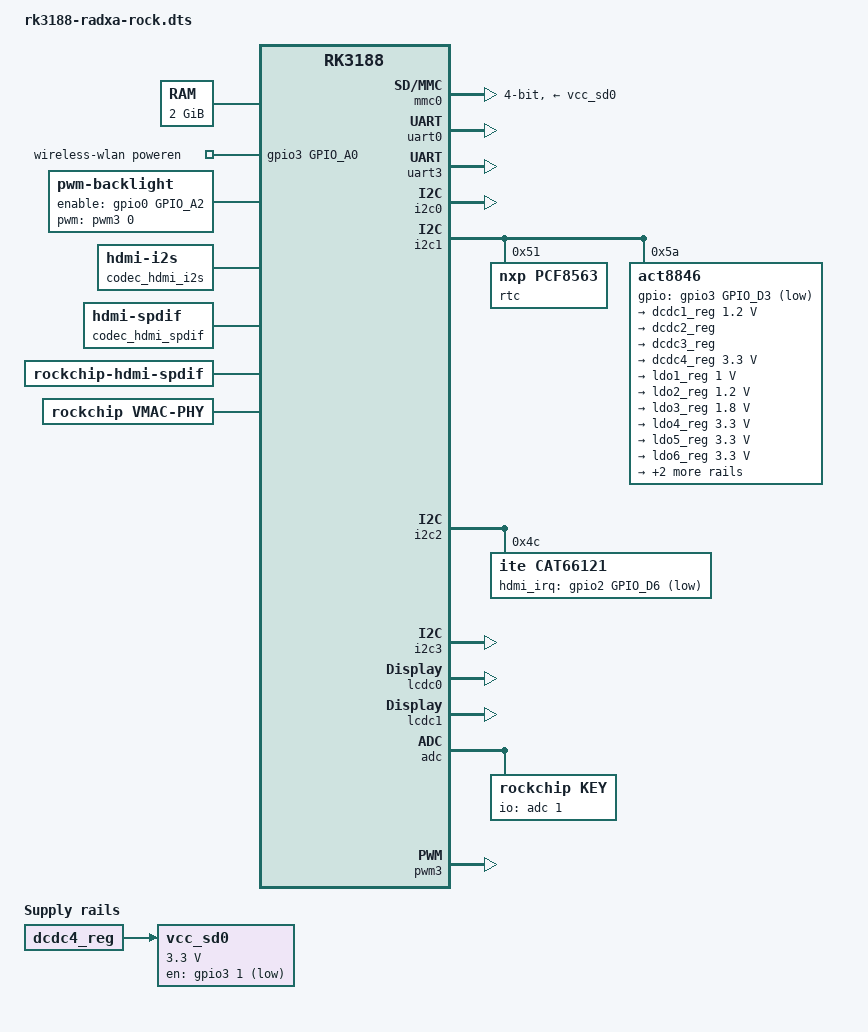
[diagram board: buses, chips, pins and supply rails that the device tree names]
/dts-v1/;

#include "rk3188.dtsi"

/ {
	memory {
		device_type = "memory";
		reg = <0x60000000 0x80000000>;
	};

	chosen {
		bootargs = "clk_ignore_unused";
	};

	fiq-debugger {
		status = "okay";
	};

	wireless-wlan {
		compatible = "wlan-platdata";

		wifi_chip_type = "";

		WIFI,poweren_gpio = <&gpio3 GPIO_A0 GPIO_ACTIVE_HIGH>;

		status = "okay";
	};

	backlight {
		compatible = "pwm-backlight";
		pwms = <&pwm3 0 25000>;
		brightness-levels = <0 1 2 3 4 5 6 7 8 9 10 11 12 13 14 15 16 17 18 19 20 21 22 23 24 25 26 27 28 29 30 31 32 33 34 35 36 37 38 39 40 41 42 43 44 45 46 47 48 49 50 51 52 53 54 55 56 57 58 59 60 61 62 63 64 65 66 67 68 69 70 71 72 73 74 75 76 77 78 79 80 81 82 83 84 85 86 87 88 89 90 91 92 93 94 95 96 97 98 99 100 101 102 103 104 105 106 107 108 109 110 111 112 113 114 115 116 117 118 119 120 121 122 123 124 125 126 127 128 129 130 131 132 133 134 135 136 137 138 139 140 141 142 143 144 145 146 147 148 149 150 151 152 153 154 155 156 157 158 159 160 161 162 163 164 165 166 167 168 169 170 171 172 173 174 175 176 177 178 179 180 181 182 183 184 185 186 187 188 189 190 191 192 193 194 195 196 197 198 199 200 201 202 203 204 205 206 207 208 209 210 211 212 213 214 215 216 217 218 219 220 221 222 223 224 225 226 227 228 229 230 231 232 233 234 235 236 237 238 239 240 241 242 243 244 245 246 247 248 249 250 251 252 253 254 255>;
		default-brightness-level = <128>;
		enable-gpios = <&gpio0 GPIO_A2 GPIO_ACTIVE_HIGH>;
	};

	codec_hdmi_i2s: codec-hdmi-i2s {
		compatible = "hdmi-i2s";
	};

	codec_hdmi_spdif: codec-hdmi-spdif {
		compatible = "hdmi-spdif";
	};

	rockchip-hdmi-i2s {
		compatible = "rockchip-hdmi-i2s";
		dais {
			dai0 {
				audio-codec = <&codec_hdmi_i2s>;
				i2s-controller = <&i2s0>;
				format = "i2s";
				//continuous-clock;
				//bitclock-inversion;
				//frame-inversion;
				//bitclock-master;
				//frame-master;
			};
		};
	};

	rockchip-hdmi-spdif {
		compatible = "rockchip-hdmi-spdif";
	};
	
	vmac-phy {
		compatible = "rockchip,vmac-phy";
		pmu_regulator = "act_ldo5";
		pmu_enable_level = <1>; //1->HIGH, 0->LOW
	};

	vcc_sd0: sdmmc-regulator {
		compatible = "regulator-fixed";
		regulator-name = "sdmmc-supply";
		regulator-min-microvolt = <3300000>;
		regulator-max-microvolt = <3300000>;
		gpio = <&gpio3 1 GPIO_ACTIVE_LOW>;
		startup-delay-us = <100000>;
		vin-supply = <&dcdc4_reg>;
	};
};

&emmc {
	status = "disabled";
};

&mmc0 {
	clock-frequency = <50000000>;
	max-frequency = <50000000>;

	num-slots = <1>;
	status = "okay";
	pinctrl-names = "default";
	pinctrl-0 = <&sd0_clk>, <&sd0_cmd>, <&sd0_cd>, <&sd0_bus4>;
	vmmc-supply = <&vcc_sd0>;

	bus-width = <4>;
	cap-mmc-highspeed;
	cap-sd-highspeed;
	disable-wp;
};

&mmc1 {
	status = "disabled";
};

&uart0 {
	status = "okay";
	dma-names = "!tx", "!rx";
};


&uart3 {
	status = "okay";
	dma-names = "!tx", "!rx";
};

&watchdog {
		rockchip,timeout = <50>;
		rockchip,debug = <1>;
		status = "disabled";
};

&i2c0 {
	status = "okay";
};

&i2c1 {
	status = "okay";
	rtc@51 {
		compatible = "nxp,pcf8563";
		reg = <0x51>;
	};
	
	act8846: act8846@5a {
		reg = <0x5a>;
		status = "okay";
	};
};

&i2c2 {
	status = "okay";
        cat66121@4c {
		compatible = "ite,cat66121";
		reg = <0x4c>;
		rockchips,hdmi_irq_gpio = <&gpio2 GPIO_D6 GPIO_ACTIVE_LOW>;

		power_ctr_hdmi {
			rockchip,debug = <1>;

			reset-gpio {
				rockchip,power_type = <GPIO>;
				rockchip,is_reset = <1>;
				rockchip,delay = <10>;

				gpios = <&gpio3 GPIO_B2 GPIO_ACTIVE_LOW>;
			};
		};
        };
};

&i2c3 {
	status = "okay";
};

&fb {
	rockchip,disp-mode = <DUAL>;
};

&rk_screen {
	display-timings {
		native-mode = <&timing0>;
		timing0: 1280x720 {
			screen-type = <SCREEN_RGB>;
			out-face = <OUT_P888>;
			hactive = <1280>;
			vactive = <720>;
			clock-frequency = <27000000>;
			hback-porch = <0>;
			hfront-porch = <0>;
			hsync-len = <0>;
			vback-porch = <0>;
			vfront-porch = <0>;
			vsync-len = <0>;
		};
	};
};

&lcdc0 {
	status = "okay";
};

&lcdc1 {
	status = "okay";
};

&adc {
	status = "okay";

	key {
		compatible = "rockchip,key";
		io-channels = <&adc 1>;

		power-key {
			gpios = <&gpio0 GPIO_A4 GPIO_ACTIVE_LOW>;
			linux,code = <116>;
			label = "power";
			gpio-key,wakeup;
		};
	};
};

&pwm3 {
	status = "okay";
};

&clk_core_dvfs_table {
	operating-points = <
		/* KHz    uV */
		312000 1100000
		504000 1100000
		816000 1100000
		1008000 1100000
		1200000 1200000
		1416000 1300000
		1608000 1350000
		>;
};

&clk_gpu_dvfs_table {
	operating-points = <
		/* KHz    uV */
		200000 1200000
		300000 1200000
		400000 1200000
		>;
};

&clk_ddr_dvfs_table {
	operating-points = <
		/* KHz    uV */
		200000 1200000
		300000 1200000
		400000 1200000
		>;

	freq_table = <
		/*status		freq(KHz)*/
		SYS_STATUS_NORMAL	400000
		SYS_STATUS_SUSPEND	200000
		SYS_STATUS_VIDEO	300000
		SYS_STATUS_DUALVIEW	500000
		>;
};

/include/ "act8846.dtsi"
&act8846 {
	gpios =<&gpio3 GPIO_D3 GPIO_ACTIVE_LOW>; 

regulators {
		
		 dcdc1_reg: regulator@0{
			regulator-name= "act_dcdc1";
			regulator-min-microvolt = <1200000>;
			regulator-max-microvolt = <1200000>;
			regulator-always-on;
			regulator-boot-on;
		};

		dcdc2_reg: regulator@1 {
			regulator-name= "vdd_logic";
			regulator-always-on;
			regulator-boot-on;			
		};

		dcdc3_reg: regulator@2 {
			regulator-name= "vdd_arm";
			regulator-always-on;
			regulator-boot-on;
		};

		dcdc4_reg: regulator@3 {
			regulator-name= "vccio";
			regulator-min-microvolt = <3300000>;
			regulator-max-microvolt = <3300000>;
			regulator-always-on;
			regulator-boot-on;
		};

		ldo1_reg: regulator@4 {
			regulator-name= "act_ldo1";
			regulator-min-microvolt = <1000000>;
			regulator-max-microvolt = <1000000>;
			regulator-always-on;
			regulator-boot-on;
		};

		ldo2_reg: regulator@5 {
			regulator-name= "act_ldo2";
			regulator-min-microvolt = <1200000>;
			regulator-max-microvolt = <1200000>;
			regulator-always-on;
			regulator-boot-on;
		};

		ldo3_reg: regulator@6 {
			regulator-name= "act_ldo3";
			regulator-min-microvolt = <1800000>;
			regulator-max-microvolt = <1800000>;
			regulator-always-on;
			regulator-boot-on;
		};

		ldo4_reg:regulator@7 {
			regulator-name= "act_ldo4";
			regulator-min-microvolt = <3300000>;
			regulator-max-microvolt = <3300000>;
			regulator-always-on;
			regulator-boot-on;
		};

		ldo5_reg: regulator@8 {
			regulator-name= "act_ldo5";
			regulator-min-microvolt = <3300000>;
			regulator-max-microvolt = <3300000>;
			regulator-always-on;
			regulator-boot-on;
		};

		ldo6_reg: regulator@9 {
			regulator-name= "act_ldo6";
			regulator-min-microvolt = <3300000>;
			regulator-max-microvolt = <3300000>;
			regulator-always-on;
			regulator-boot-on;
		};

		ldo7_reg: regulator@10 {
			regulator-name= "act_ldo7";
			regulator-min-microvolt = <1800000>;
			regulator-max-microvolt = <1800000>;
			regulator-always-on;
			regulator-boot-on;
		};

		ldo8_reg: regulator@11 {
			regulator-name= "act_ldo8";
			regulator-min-microvolt = <2800000>;
			regulator-max-microvolt = <2800000>;
			regulator-always-on;
			regulator-boot-on;
		};
	};
};
